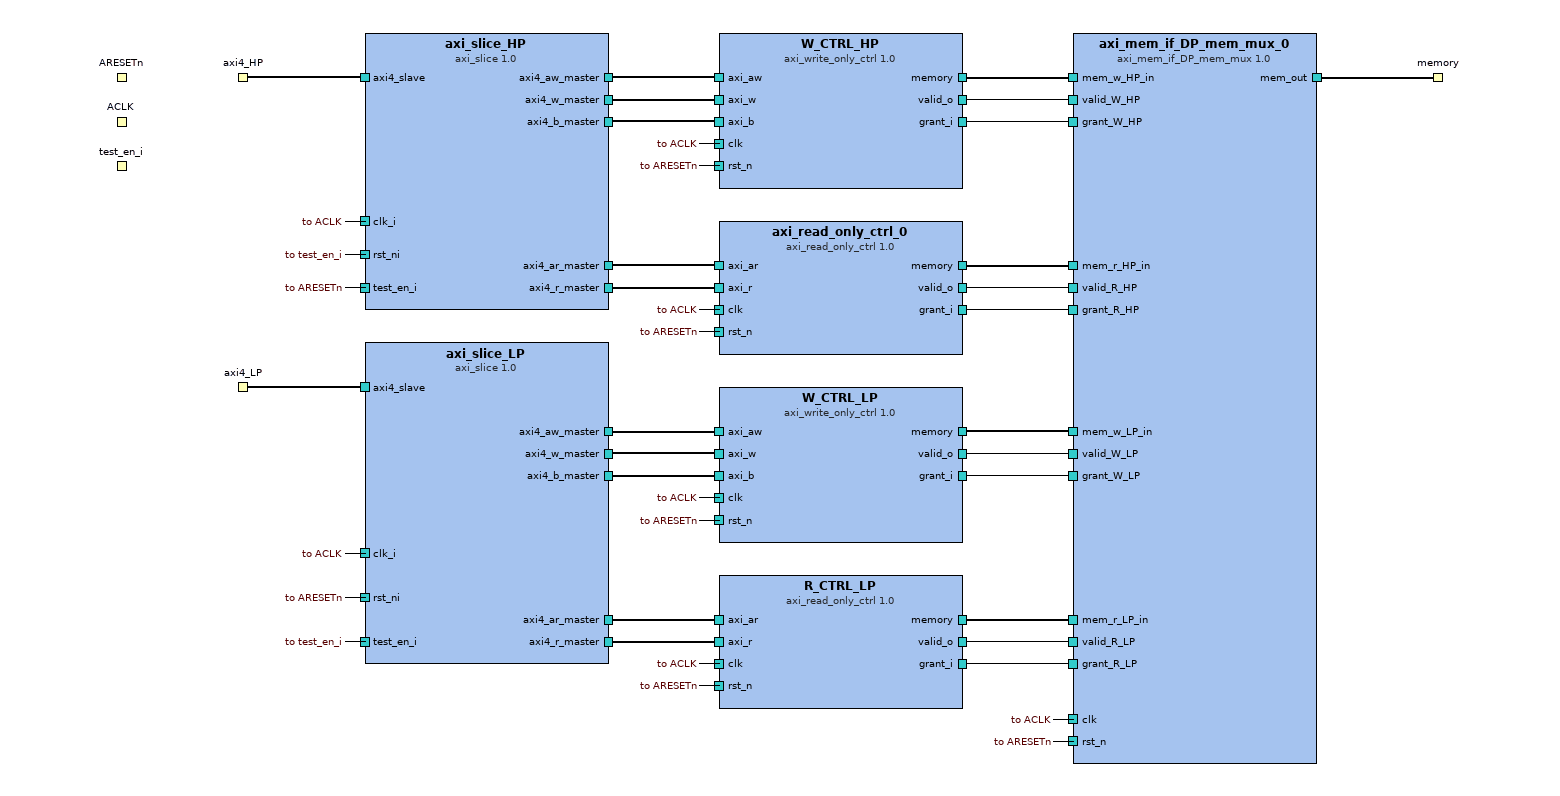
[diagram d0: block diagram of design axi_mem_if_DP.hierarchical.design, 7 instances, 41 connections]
<?xml version="1.0" encoding="UTF-8"?>
<ipxact:design xmlns:xsi="http://www.w3.org/2001/XMLSchema-instance" xmlns:ipxact="http://www.accellera.org/XMLSchema/IPXACT/1685-2014" xmlns:kactus2="http://kactus2.cs.tut.fi" xsi:schemaLocation="http://www.accellera.org/XMLSchema/IPXACT/1685-2014/ http://www.accellera.org/XMLSchema/IPXACT/1685-2014/index.xsd"><ipxact:vendor>pulpino-project.org</ipxact:vendor><ipxact:library>ip.hwp.ifc</ipxact:library>
 <ipxact:name>axi_mem_if_DP.hierarchical.design</ipxact:name><ipxact:version>1.0</ipxact:version><ipxact:componentInstances>
 <ipxact:componentInstance><ipxact:instanceName>W_CTRL_HP</ipxact:instanceName>
  <ipxact:componentRef vendor="pulpino-project.org" library="ip.hwp.mem" name="axi_write_only_ctrl" version="1.0">
   <ipxact:configurableElementValues><ipxact:configurableElementValue referenceId="uuid_d481207e_ffc6_4dfa_9a7e_9f6a795b9d71">uuid_f31db2bc_ef80_413c_b393_e03dab99eaca</ipxact:configurableElementValue><ipxact:configurableElementValue referenceId="uuid_dd0b7ebf_86f7_4d46_b613_ee2aa8ce48bd">uuid_ac6bbfe8_7e63_4499_b745_92d7955203fa</ipxact:configurableElementValue><ipxact:configurableElementValue referenceId="uuid_c471b789_4c9d_4dea_9cc1_95a390f9fb2d">uuid_f75913b9_9592_4eed_84db_d74d26f0e30e</ipxact:configurableElementValue>
    <ipxact:configurableElementValue referenceId="uuid_ce84ec2a_5333_456e_be91_a2c4f68fc4b8">uuid_c493ac5d_c0bf_475c_a199_19785093022c</ipxact:configurableElementValue><ipxact:configurableElementValue referenceId="uuid_16e8b36d_b340_494f_bd17_831d92956231">uuid_8001d720_abcb_475a_91f2_6792961a0b66</ipxact:configurableElementValue><ipxact:configurableElementValue referenceId="uuid_d4f362eb_ea88_4f00_921a_5383d98b37de">uuid_21b6f6ff_40a7_471c_a3d3_3034b4864532</ipxact:configurableElementValue>
   </ipxact:configurableElementValues>
  </ipxact:componentRef>
 </ipxact:componentInstance>
 <ipxact:componentInstance><ipxact:instanceName>W_CTRL_LP</ipxact:instanceName>
  <ipxact:componentRef vendor="pulpino-project.org" library="ip.hwp.mem" name="axi_write_only_ctrl" version="1.0">
   <ipxact:configurableElementValues><ipxact:configurableElementValue referenceId="uuid_d481207e_ffc6_4dfa_9a7e_9f6a795b9d71">uuid_f31db2bc_ef80_413c_b393_e03dab99eaca</ipxact:configurableElementValue><ipxact:configurableElementValue referenceId="uuid_dd0b7ebf_86f7_4d46_b613_ee2aa8ce48bd">uuid_ac6bbfe8_7e63_4499_b745_92d7955203fa</ipxact:configurableElementValue><ipxact:configurableElementValue referenceId="uuid_c471b789_4c9d_4dea_9cc1_95a390f9fb2d">uuid_f75913b9_9592_4eed_84db_d74d26f0e30e</ipxact:configurableElementValue>
    <ipxact:configurableElementValue referenceId="uuid_ce84ec2a_5333_456e_be91_a2c4f68fc4b8">uuid_c493ac5d_c0bf_475c_a199_19785093022c</ipxact:configurableElementValue><ipxact:configurableElementValue referenceId="uuid_16e8b36d_b340_494f_bd17_831d92956231">uuid_8001d720_abcb_475a_91f2_6792961a0b66</ipxact:configurableElementValue><ipxact:configurableElementValue referenceId="uuid_d4f362eb_ea88_4f00_921a_5383d98b37de">uuid_21b6f6ff_40a7_471c_a3d3_3034b4864532</ipxact:configurableElementValue>
   </ipxact:configurableElementValues>
  </ipxact:componentRef>
 </ipxact:componentInstance>
 <ipxact:componentInstance><ipxact:instanceName>R_CTRL_LP</ipxact:instanceName>
  <ipxact:componentRef vendor="pulpino-project.org" library="ip.hwp.mem" name="axi_read_only_ctrl" version="1.0">
   <ipxact:configurableElementValues><ipxact:configurableElementValue referenceId="uuid_5f450adc_0e49_4757_8fbb_d4b6f123369f">uuid_f31db2bc_ef80_413c_b393_e03dab99eaca</ipxact:configurableElementValue><ipxact:configurableElementValue referenceId="uuid_466ea12c_eef9_432d_95d0_c69b6c89656a">uuid_ac6bbfe8_7e63_4499_b745_92d7955203fa</ipxact:configurableElementValue><ipxact:configurableElementValue referenceId="uuid_63be1f21_3d10_466f_9b1d_f4c628e31d91">uuid_f75913b9_9592_4eed_84db_d74d26f0e30e</ipxact:configurableElementValue>
    <ipxact:configurableElementValue referenceId="uuid_b0e98219_ab50_4b96_8795_e8b6ce167215">uuid_c493ac5d_c0bf_475c_a199_19785093022c</ipxact:configurableElementValue><ipxact:configurableElementValue referenceId="uuid_1a0b6ad1_1470_4bf6_a76a_d215b0034cfc">uuid_8001d720_abcb_475a_91f2_6792961a0b66</ipxact:configurableElementValue><ipxact:configurableElementValue referenceId="uuid_5d616b6b_33c2_40e3_8df6_9aba1f1b9efa">uuid_21b6f6ff_40a7_471c_a3d3_3034b4864532</ipxact:configurableElementValue>
   </ipxact:configurableElementValues>
  </ipxact:componentRef>
 </ipxact:componentInstance>
 <ipxact:componentInstance><ipxact:instanceName>axi_mem_if_DP_mem_mux_0</ipxact:instanceName>
  <ipxact:componentRef vendor="pulpino-project.org" library="ip.hwp.mux" name="axi_mem_if_DP_mem_mux" version="1.0">
   <ipxact:configurableElementValues><ipxact:configurableElementValue referenceId="uuid_73890fc0_6bf6_4d3f_b2a6_9ecab2e54b61">uuid_f31db2bc_ef80_413c_b393_e03dab99eaca</ipxact:configurableElementValue><ipxact:configurableElementValue referenceId="uuid_5834ebeb_fe66_4a3b_9a44_3bfa1c08d59f">uuid_ac6bbfe8_7e63_4499_b745_92d7955203fa</ipxact:configurableElementValue><ipxact:configurableElementValue referenceId="uuid_ef0f9cfb_85b7_4443_b8b6_6b96e73a5ddc">uuid_c493ac5d_c0bf_475c_a199_19785093022c</ipxact:configurableElementValue>
   </ipxact:configurableElementValues>
  </ipxact:componentRef>
 </ipxact:componentInstance>
 <ipxact:componentInstance><ipxact:instanceName>axi_slice_HP</ipxact:instanceName>
  <ipxact:componentRef vendor="pulpino-project.org" library="ip.hwp.ifc" name="axi_slice" version="1.0">
   <ipxact:configurableElementValues><ipxact:configurableElementValue referenceId="uuid_4cfaadac_657d_4188_aad7_954363c7ab12">uuid_f75913b9_9592_4eed_84db_d74d26f0e30e</ipxact:configurableElementValue><ipxact:configurableElementValue referenceId="uuid_f0abef87_a8ce_4f5d_b2df_a8abda842bab">uuid_8001d720_abcb_475a_91f2_6792961a0b66</ipxact:configurableElementValue><ipxact:configurableElementValue referenceId="uuid_f4d67aaa_5ea1_4873_8641_5587b040a052">uuid_ac6bbfe8_7e63_4499_b745_92d7955203fa</ipxact:configurableElementValue>
    <ipxact:configurableElementValue referenceId="uuid_a86e5030_8cd8_4793_a969_c417de590c8f">uuid_21b6f6ff_40a7_471c_a3d3_3034b4864532</ipxact:configurableElementValue>
   </ipxact:configurableElementValues>
  </ipxact:componentRef>
 </ipxact:componentInstance>
 <ipxact:componentInstance><ipxact:instanceName>axi_slice_LP</ipxact:instanceName>
  <ipxact:componentRef vendor="pulpino-project.org" library="ip.hwp.ifc" name="axi_slice" version="1.0">
   <ipxact:configurableElementValues><ipxact:configurableElementValue referenceId="uuid_4cfaadac_657d_4188_aad7_954363c7ab12">uuid_f75913b9_9592_4eed_84db_d74d26f0e30e</ipxact:configurableElementValue><ipxact:configurableElementValue referenceId="uuid_f0abef87_a8ce_4f5d_b2df_a8abda842bab">uuid_8001d720_abcb_475a_91f2_6792961a0b66</ipxact:configurableElementValue><ipxact:configurableElementValue referenceId="uuid_f4d67aaa_5ea1_4873_8641_5587b040a052">uuid_ac6bbfe8_7e63_4499_b745_92d7955203fa</ipxact:configurableElementValue>
    <ipxact:configurableElementValue referenceId="uuid_a86e5030_8cd8_4793_a969_c417de590c8f">uuid_21b6f6ff_40a7_471c_a3d3_3034b4864532</ipxact:configurableElementValue>
   </ipxact:configurableElementValues>
  </ipxact:componentRef>
 </ipxact:componentInstance>
 <ipxact:componentInstance><ipxact:instanceName>axi_read_only_ctrl_0</ipxact:instanceName>
  <ipxact:componentRef vendor="pulpino-project.org" library="ip.hwp.mem" name="axi_read_only_ctrl" version="1.0">
   <ipxact:configurableElementValues><ipxact:configurableElementValue referenceId="uuid_5f450adc_0e49_4757_8fbb_d4b6f123369f">uuid_f31db2bc_ef80_413c_b393_e03dab99eaca</ipxact:configurableElementValue><ipxact:configurableElementValue referenceId="uuid_c507d97e_22ad_4088_a460_fd8870bb6332">uuid_de162483_051b_4af6_854e_e99d8dbf050c</ipxact:configurableElementValue><ipxact:configurableElementValue referenceId="uuid_466ea12c_eef9_432d_95d0_c69b6c89656a">uuid_ac6bbfe8_7e63_4499_b745_92d7955203fa</ipxact:configurableElementValue>
    <ipxact:configurableElementValue referenceId="uuid_63be1f21_3d10_466f_9b1d_f4c628e31d91">uuid_f75913b9_9592_4eed_84db_d74d26f0e30e</ipxact:configurableElementValue><ipxact:configurableElementValue referenceId="uuid_b0e98219_ab50_4b96_8795_e8b6ce167215">uuid_c493ac5d_c0bf_475c_a199_19785093022c</ipxact:configurableElementValue><ipxact:configurableElementValue referenceId="uuid_1a0b6ad1_1470_4bf6_a76a_d215b0034cfc">uuid_8001d720_abcb_475a_91f2_6792961a0b66</ipxact:configurableElementValue>
    <ipxact:configurableElementValue referenceId="uuid_5d616b6b_33c2_40e3_8df6_9aba1f1b9efa">uuid_21b6f6ff_40a7_471c_a3d3_3034b4864532</ipxact:configurableElementValue>
   </ipxact:configurableElementValues>
  </ipxact:componentRef>
 </ipxact:componentInstance>
</ipxact:componentInstances><ipxact:interconnections>
 <ipxact:interconnection><ipxact:name>axi_mem_if_DP_mem_mux_0_mem_out_to_memory</ipxact:name><ipxact:activeInterface componentRef="axi_mem_if_DP_mem_mux_0" busRef="mem_out"/><ipxact:hierInterface busRef="memory"/></ipxact:interconnection>
 <ipxact:interconnection><ipxact:name>W_CTRL_HP_memory_to_axi_mem_if_DP_mem_mux_0_mem_w_HP_in</ipxact:name><ipxact:activeInterface componentRef="W_CTRL_HP" busRef="memory"/><ipxact:activeInterface componentRef="axi_mem_if_DP_mem_mux_0" busRef="mem_w_HP_in"/></ipxact:interconnection>
 <ipxact:interconnection><ipxact:name>axi_mem_if_DP_mem_mux_0_mem_w_LP_in_to_W_CTRL_LP_memory</ipxact:name><ipxact:activeInterface componentRef="axi_mem_if_DP_mem_mux_0" busRef="mem_w_LP_in"/><ipxact:activeInterface componentRef="W_CTRL_LP" busRef="memory"/></ipxact:interconnection>
 <ipxact:interconnection><ipxact:name>R_CTRL_LP_memory_to_axi_mem_if_DP_mem_mux_0_mem_r_LP_in</ipxact:name><ipxact:activeInterface componentRef="R_CTRL_LP" busRef="memory"/><ipxact:activeInterface componentRef="axi_mem_if_DP_mem_mux_0" busRef="mem_r_LP_in"/></ipxact:interconnection>
 <ipxact:interconnection><ipxact:name>W_CTRL_HP_axi_aw_to_axi_slice_HP_axi4_aw_master</ipxact:name><ipxact:activeInterface componentRef="W_CTRL_HP" busRef="axi_aw"/><ipxact:activeInterface componentRef="axi_slice_HP" busRef="axi4_aw_master"/></ipxact:interconnection>
 <ipxact:interconnection><ipxact:name>axi_slice_HP_axi4_w_master_to_W_CTRL_HP_axi_w</ipxact:name><ipxact:activeInterface componentRef="axi_slice_HP" busRef="axi4_w_master"/><ipxact:activeInterface componentRef="W_CTRL_HP" busRef="axi_w"/></ipxact:interconnection>
 <ipxact:interconnection><ipxact:name>W_CTRL_HP_axi_b_to_axi_slice_HP_axi4_b_master</ipxact:name><ipxact:activeInterface componentRef="W_CTRL_HP" busRef="axi_b"/><ipxact:activeInterface componentRef="axi_slice_HP" busRef="axi4_b_master"/></ipxact:interconnection>
 <ipxact:interconnection><ipxact:name>axi_slice_LP_axi4_aw_master_to_W_CTRL_LP_axi_aw</ipxact:name><ipxact:activeInterface componentRef="axi_slice_LP" busRef="axi4_aw_master"/><ipxact:activeInterface componentRef="W_CTRL_LP" busRef="axi_aw"/></ipxact:interconnection>
 <ipxact:interconnection><ipxact:name>W_CTRL_LP_axi_w_to_axi_slice_LP_axi4_w_master</ipxact:name><ipxact:activeInterface componentRef="W_CTRL_LP" busRef="axi_w"/><ipxact:activeInterface componentRef="axi_slice_LP" busRef="axi4_w_master"/></ipxact:interconnection>
 <ipxact:interconnection><ipxact:name>axi_slice_LP_axi4_b_master_to_W_CTRL_LP_axi_b</ipxact:name><ipxact:activeInterface componentRef="axi_slice_LP" busRef="axi4_b_master"/><ipxact:activeInterface componentRef="W_CTRL_LP" busRef="axi_b"/></ipxact:interconnection>
 <ipxact:interconnection><ipxact:name>axi_slice_LP_axi4_ar_master_to_R_CTRL_LP_axi_ar</ipxact:name><ipxact:activeInterface componentRef="axi_slice_LP" busRef="axi4_ar_master"/><ipxact:activeInterface componentRef="R_CTRL_LP" busRef="axi_ar"/></ipxact:interconnection>
 <ipxact:interconnection><ipxact:name>axi_slice_LP_axi4_r_master_to_R_CTRL_LP_axi_r</ipxact:name><ipxact:activeInterface componentRef="axi_slice_LP" busRef="axi4_r_master"/><ipxact:activeInterface componentRef="R_CTRL_LP" busRef="axi_r"/></ipxact:interconnection>
 <ipxact:interconnection><ipxact:name>axi_slice_HP_axi4_slave_to_axi4_HP</ipxact:name><ipxact:activeInterface componentRef="axi_slice_HP" busRef="axi4_slave"/><ipxact:hierInterface busRef="axi4_HP"/></ipxact:interconnection>
 <ipxact:interconnection><ipxact:name>axi_slice_LP_axi4_slave_to_axi4_LP</ipxact:name><ipxact:activeInterface componentRef="axi_slice_LP" busRef="axi4_slave"/><ipxact:hierInterface busRef="axi4_LP"/></ipxact:interconnection>
 <ipxact:interconnection><ipxact:name>axi_read_only_ctrl_0_memory_to_axi_mem_if_DP_mem_mux_0_mem_r_HP_in</ipxact:name><ipxact:activeInterface componentRef="axi_read_only_ctrl_0" busRef="memory"/><ipxact:activeInterface componentRef="axi_mem_if_DP_mem_mux_0" busRef="mem_r_HP_in"/></ipxact:interconnection>
 <ipxact:interconnection><ipxact:name>axi_read_only_ctrl_0_axi_ar_to_axi_slice_HP_axi4_ar_master</ipxact:name><ipxact:activeInterface componentRef="axi_read_only_ctrl_0" busRef="axi_ar"/><ipxact:activeInterface componentRef="axi_slice_HP" busRef="axi4_ar_master"/></ipxact:interconnection>
 <ipxact:interconnection><ipxact:name>axi_slice_HP_axi4_r_master_to_axi_read_only_ctrl_0_axi_r</ipxact:name><ipxact:activeInterface componentRef="axi_slice_HP" busRef="axi4_r_master"/><ipxact:activeInterface componentRef="axi_read_only_ctrl_0" busRef="axi_r"/></ipxact:interconnection>
</ipxact:interconnections><ipxact:adHocConnections>
 <ipxact:adHocConnection><ipxact:name>axi_mem_if_DP_mem_mux_0_valid_W_HP_to_W_CTRL_HP_valid_o</ipxact:name><ipxact:portReferences><ipxact:internalPortReference componentRef="axi_mem_if_DP_mem_mux_0" portRef="valid_W_HP"/><ipxact:internalPortReference componentRef="W_CTRL_HP" portRef="valid_o"/></ipxact:portReferences></ipxact:adHocConnection>
 <ipxact:adHocConnection><ipxact:name>W_CTRL_HP_grant_i_to_axi_mem_if_DP_mem_mux_0_grant_W_HP</ipxact:name><ipxact:portReferences><ipxact:internalPortReference componentRef="W_CTRL_HP" portRef="grant_i"/><ipxact:internalPortReference componentRef="axi_mem_if_DP_mem_mux_0" portRef="grant_W_HP"/></ipxact:portReferences></ipxact:adHocConnection>
 <ipxact:adHocConnection><ipxact:name>W_CTRL_LP_valid_o_to_axi_mem_if_DP_mem_mux_0_valid_W_LP</ipxact:name><ipxact:portReferences><ipxact:internalPortReference componentRef="W_CTRL_LP" portRef="valid_o"/><ipxact:internalPortReference componentRef="axi_mem_if_DP_mem_mux_0" portRef="valid_W_LP"/></ipxact:portReferences></ipxact:adHocConnection>
 <ipxact:adHocConnection><ipxact:name>axi_mem_if_DP_mem_mux_0_grant_W_LP_to_W_CTRL_LP_grant_i</ipxact:name><ipxact:portReferences><ipxact:internalPortReference componentRef="axi_mem_if_DP_mem_mux_0" portRef="grant_W_LP"/><ipxact:internalPortReference componentRef="W_CTRL_LP" portRef="grant_i"/></ipxact:portReferences></ipxact:adHocConnection>
 <ipxact:adHocConnection><ipxact:name>W_CTRL_HP_rst_n_to_ARESETn</ipxact:name><ipxact:portReferences><ipxact:internalPortReference componentRef="W_CTRL_HP" portRef="rst_n"/><ipxact:externalPortReference portRef="ARESETn"/></ipxact:portReferences></ipxact:adHocConnection>
 <ipxact:adHocConnection><ipxact:name>W_CTRL_LP_rst_n_to_ARESETn</ipxact:name><ipxact:portReferences><ipxact:internalPortReference componentRef="W_CTRL_LP" portRef="rst_n"/><ipxact:externalPortReference portRef="ARESETn"/></ipxact:portReferences></ipxact:adHocConnection>
 <ipxact:adHocConnection><ipxact:name>R_CTRL_LP_valid_o_to_axi_mem_if_DP_mem_mux_0_valid_R_LP</ipxact:name><ipxact:portReferences><ipxact:internalPortReference componentRef="R_CTRL_LP" portRef="valid_o"/><ipxact:internalPortReference componentRef="axi_mem_if_DP_mem_mux_0" portRef="valid_R_LP"/></ipxact:portReferences></ipxact:adHocConnection>
 <ipxact:adHocConnection><ipxact:name>axi_mem_if_DP_mem_mux_0_grant_R_LP_to_R_CTRL_LP_grant_i</ipxact:name><ipxact:portReferences><ipxact:internalPortReference componentRef="axi_mem_if_DP_mem_mux_0" portRef="grant_R_LP"/><ipxact:internalPortReference componentRef="R_CTRL_LP" portRef="grant_i"/></ipxact:portReferences></ipxact:adHocConnection>
 <ipxact:adHocConnection><ipxact:name>axi_mem_if_DP_mem_mux_0_clk_to_ACLK</ipxact:name><ipxact:portReferences><ipxact:internalPortReference componentRef="axi_mem_if_DP_mem_mux_0" portRef="clk"/><ipxact:externalPortReference portRef="ACLK"/></ipxact:portReferences></ipxact:adHocConnection>
 <ipxact:adHocConnection><ipxact:name>axi_mem_if_DP_mem_mux_0_rst_n_to_ARESETn</ipxact:name><ipxact:portReferences><ipxact:internalPortReference componentRef="axi_mem_if_DP_mem_mux_0" portRef="rst_n"/><ipxact:externalPortReference portRef="ARESETn"/></ipxact:portReferences></ipxact:adHocConnection>
 <ipxact:adHocConnection><ipxact:name>W_CTRL_HP_clk_to_ACLK</ipxact:name><ipxact:portReferences><ipxact:internalPortReference componentRef="W_CTRL_HP" portRef="clk"/><ipxact:externalPortReference portRef="ACLK"/></ipxact:portReferences></ipxact:adHocConnection>
 <ipxact:adHocConnection><ipxact:name>W_CTRL_LP_clk_to_ACLK</ipxact:name><ipxact:portReferences><ipxact:internalPortReference componentRef="W_CTRL_LP" portRef="clk"/><ipxact:externalPortReference portRef="ACLK"/></ipxact:portReferences></ipxact:adHocConnection>
 <ipxact:adHocConnection><ipxact:name>R_CTRL_LP_clk_to_ACLK</ipxact:name><ipxact:portReferences><ipxact:internalPortReference componentRef="R_CTRL_LP" portRef="clk"/><ipxact:externalPortReference portRef="ACLK"/></ipxact:portReferences></ipxact:adHocConnection>
 <ipxact:adHocConnection><ipxact:name>R_CTRL_LP_rst_n_to_ARESETn</ipxact:name><ipxact:portReferences><ipxact:internalPortReference componentRef="R_CTRL_LP" portRef="rst_n"/><ipxact:externalPortReference portRef="ARESETn"/></ipxact:portReferences></ipxact:adHocConnection>
 <ipxact:adHocConnection><ipxact:name>axi_slice_HP_clk_i_to_ACLK</ipxact:name><ipxact:portReferences><ipxact:internalPortReference componentRef="axi_slice_HP" portRef="clk_i"/><ipxact:externalPortReference portRef="ACLK"/></ipxact:portReferences></ipxact:adHocConnection>
 <ipxact:adHocConnection><ipxact:name>axi_slice_LP_clk_i_to_ACLK</ipxact:name><ipxact:portReferences><ipxact:internalPortReference componentRef="axi_slice_LP" portRef="clk_i"/><ipxact:externalPortReference portRef="ACLK"/></ipxact:portReferences></ipxact:adHocConnection>
 <ipxact:adHocConnection><ipxact:name>axi_slice_LP_rst_ni_to_ARESETn</ipxact:name><ipxact:portReferences><ipxact:internalPortReference componentRef="axi_slice_LP" portRef="rst_ni"/><ipxact:externalPortReference portRef="ARESETn"/></ipxact:portReferences></ipxact:adHocConnection>
 <ipxact:adHocConnection><ipxact:name>axi_slice_LP_test_en_i_to_test_en_i</ipxact:name><ipxact:portReferences><ipxact:internalPortReference componentRef="axi_slice_LP" portRef="test_en_i"/><ipxact:externalPortReference portRef="test_en_i"/></ipxact:portReferences></ipxact:adHocConnection>
 <ipxact:adHocConnection><ipxact:name>axi_slice_HP_rst_ni_to_test_en_i</ipxact:name><ipxact:portReferences><ipxact:internalPortReference componentRef="axi_slice_HP" portRef="rst_ni"/><ipxact:externalPortReference portRef="test_en_i"/></ipxact:portReferences></ipxact:adHocConnection>
 <ipxact:adHocConnection><ipxact:name>axi_slice_HP_test_en_i_to_ARESETn</ipxact:name><ipxact:portReferences><ipxact:internalPortReference componentRef="axi_slice_HP" portRef="test_en_i"/><ipxact:externalPortReference portRef="ARESETn"/></ipxact:portReferences></ipxact:adHocConnection>
 <ipxact:adHocConnection><ipxact:name>axi_mem_if_DP_mem_mux_0_valid_R_HP_to_axi_read_only_ctrl_0_valid_o</ipxact:name><ipxact:portReferences><ipxact:internalPortReference componentRef="axi_mem_if_DP_mem_mux_0" portRef="valid_R_HP"/><ipxact:internalPortReference componentRef="axi_read_only_ctrl_0" portRef="valid_o"/></ipxact:portReferences></ipxact:adHocConnection>
 <ipxact:adHocConnection><ipxact:name>axi_read_only_ctrl_0_grant_i_to_axi_mem_if_DP_mem_mux_0_grant_R_HP</ipxact:name><ipxact:portReferences><ipxact:internalPortReference componentRef="axi_read_only_ctrl_0" portRef="grant_i"/><ipxact:internalPortReference componentRef="axi_mem_if_DP_mem_mux_0" portRef="grant_R_HP"/></ipxact:portReferences></ipxact:adHocConnection>
 <ipxact:adHocConnection><ipxact:name>axi_read_only_ctrl_0_clk_to_ACLK</ipxact:name><ipxact:portReferences><ipxact:internalPortReference componentRef="axi_read_only_ctrl_0" portRef="clk"/><ipxact:externalPortReference portRef="ACLK"/></ipxact:portReferences></ipxact:adHocConnection>
 <ipxact:adHocConnection><ipxact:name>axi_read_only_ctrl_0_rst_n_to_ARESETn</ipxact:name><ipxact:portReferences><ipxact:internalPortReference componentRef="axi_read_only_ctrl_0" portRef="rst_n"/><ipxact:externalPortReference portRef="ARESETn"/></ipxact:portReferences></ipxact:adHocConnection>
</ipxact:adHocConnections></ipxact:design>

